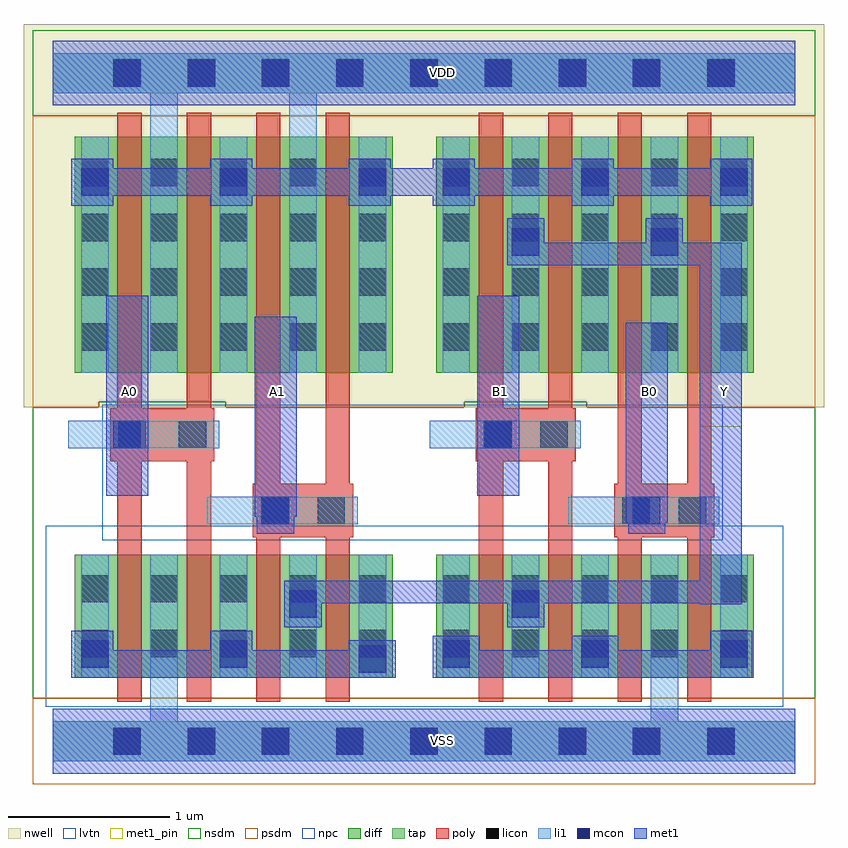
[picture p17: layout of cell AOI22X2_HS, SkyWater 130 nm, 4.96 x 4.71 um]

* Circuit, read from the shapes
.subckt AOI22X2_HS A0 A1 B0 B1 VDD VSS Y
XM1 VSS A0 n1 VSS sky130_fd_pr__nfet_01v8_lvt w=0.76 l=0.15 m=2
XM2 Y A1 n1 VSS sky130_fd_pr__nfet_01v8_lvt w=0.76 l=0.15 m=2
XM3 Y B1 n2 VSS sky130_fd_pr__nfet_01v8_lvt w=0.76 l=0.15 m=2
XM4 VSS B0 n2 VSS sky130_fd_pr__nfet_01v8_lvt w=0.76 l=0.15 m=2
XM5 VDD A0 n3 VDD sky130_fd_pr__pfet_01v8 w=1.46 l=0.15 m=2
XM6 VDD A1 n3 VDD sky130_fd_pr__pfet_01v8 w=1.46 l=0.15 m=2
XM7 Y B1 n3 VDD sky130_fd_pr__pfet_01v8 w=1.46 l=0.15 m=2
XM8 Y B0 n3 VDD sky130_fd_pr__pfet_01v8 w=1.46 l=0.15 m=2
.ends

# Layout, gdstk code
from math import pi, radians
import gdstk
lib = gdstk.Library(unit=1e-6, precision=1e-09)
def R(c, l, rs):  # rectangles x0, y0, x1, y1
    for r in rs: c.add(gdstk.rectangle(r[:2], r[2:], *l))
def A(c, l, x, y, w, h, nx, ny, dx, dy):  # array of equal rectangles
    R(c, l, [(x+i*dx, y+j*dy, x+i*dx+w, y+j*dy+h) for i in range(nx) for j in range(ny)])
def P(c, l, *ps):  # polygons
    for p in ps: c.add(gdstk.Polygon(p, *l))
nwell = (64, 20)
diff = (65, 20)
tap = (65, 44)
poly = (66, 20)
licon = (66, 44)
li1 = (67, 20)
mcon = (67, 44)
met1_pin = (68, 16)
met1 = (68, 20)
nsdm = (93, 44)
psdm = (94, 20)
npc = (95, 20)
lvtn = (125, 44)

l1m1_c_cdns_750721774072 = lib.new_cell('L1M1_C_CDNS_7507217740722')
R(l1m1_c_cdns_750721774072, li1, [(-0.085,-0.165,0.085,0.085)])
R(l1m1_c_cdns_750721774072, mcon, [(-0.085,-0.085,0.085,0.085)])
R(l1m1_c_cdns_750721774072, met1, [(-0.145,-0.145,0.115,0.145)])

c_l1m1_c_cdns_750721774072 = lib.new_cell('L1M1_C_CDNS_7507217740723')
R(c_l1m1_c_cdns_750721774072, li1, [(-0.085,-0.085,0.085,0.165)])
R(c_l1m1_c_cdns_750721774072, mcon, [(-0.085,-0.085,0.085,0.085)])
R(c_l1m1_c_cdns_750721774072, met1, [(-0.145,-0.145,0.115,0.145)])

pyl1con_c_cdns_750721774 = lib.new_cell('PYL1CON_C_CDNS_750721774073')
R(pyl1con_c_cdns_750721774, poly, [(-0.135,-0.165,0.135,0.165)])
R(pyl1con_c_cdns_750721774, licon, [(-0.085,-0.085,0.085,0.085)])
R(pyl1con_c_cdns_750721774, npc, [(-0.185,-0.185,0.185,0.185)])

c_l1m1_c_cdns_750721774072_ = lib.new_cell('L1M1_C_CDNS_750721774072')
R(c_l1m1_c_cdns_750721774072_, li1, [(-0.085,-0.165,0.085,0.165)])
R(c_l1m1_c_cdns_750721774072_, mcon, [(-0.085,-0.085,0.085,0.085)])
R(c_l1m1_c_cdns_750721774072_, met1, [(-0.115,-0.145,0.115,0.145)])

l1m1_c_cdns_750721774074 = lib.new_cell('L1M1_C_CDNS_750721774074')
R(l1m1_c_cdns_750721774074, li1, [(-0.165,-0.085,0.165,0.085)])
R(l1m1_c_cdns_750721774074, mcon, [(-0.085,-0.085,0.085,0.085)])
R(l1m1_c_cdns_750721774074, met1, [(-0.115,-0.145,0.115,0.145)])

l1m1_c_cdns_750721774071 = lib.new_cell('L1M1_C_CDNS_7507217740719')
R(l1m1_c_cdns_750721774071, li1, [(-0.085,-0.165,0.085,0.085)])
R(l1m1_c_cdns_750721774071, mcon, [(-0.085,-0.085,0.085,0.085)])
R(l1m1_c_cdns_750721774071, met1, [(-0.145,-0.115,0.145,0.115)])

aoi22x2_hs = lib.new_cell('AOI22X2_HS')
R(aoi22x2_hs, nwell, [(-0.18,2.07,4.78,4.305), (-0.045,2.105,1.385,3.925), (1.025,2.105,2.285,3.925), (2.195,2.105,3.455,3.925), (3.095,2.105,4.525,3.925), (-0.18,3.875,4.78,4.445)])
A(aoi22x2_hs, diff, 0.4, 0.395, 0.15, 0.76, 4, 1, 0.43, 0)
A(aoi22x2_hs, diff, 2.64, 0.395, 0.15, 0.76, 4, 1, 0.43, 0)
A(aoi22x2_hs, diff, 0.4, 2.285, 0.15, 1.46, 4, 1, 0.43, 0)
A(aoi22x2_hs, diff, 2.64, 2.285, 0.15, 1.46, 4, 1, 0.43, 0)
R(aoi22x2_hs, diff, [(0.135,0.395,0.4,1.155), (0.55,0.395,0.83,1.155), (0.98,0.395,1.205,1.155), (1.205,0.395,1.26,1.155), (1.41,0.395,1.69,1.155), (1.84,0.395,2.105,1.155), (2.375,0.395,2.64,1.155), (2.79,0.395,3.07,1.155), (3.22,0.395,3.445,1.155), (3.445,0.395,3.5,1.155), (3.65,0.395,3.93,1.155), (4.08,0.395,4.345,1.155), (0.135,2.285,0.4,3.745), (0.55,2.285,0.83,3.745), (0.98,2.285,1.205,3.745), (1.205,2.285,1.26,3.745), (1.41,2.285,1.69,3.745), (1.84,2.285,2.105,3.745), (2.375,2.285,2.64,3.745), (2.79,2.285,3.07,3.745), (3.22,2.285,3.275,3.745), (3.275,2.285,3.5,3.745), (3.65,2.285,3.93,3.745), (4.08,2.285,4.345,3.745)])
A(aoi22x2_hs, poly, 0.4, 0.245, 0.15, 0.055, 4, 2, 0.43, 1.005)
A(aoi22x2_hs, poly, 2.64, 0.245, 0.15, 0.055, 4, 2, 0.43, 1.005)
A(aoi22x2_hs, poly, 0.4, 0.3, 0.15, 0.095, 4, 2, 0.43, 0.855)
A(aoi22x2_hs, poly, 2.64, 0.3, 0.15, 0.095, 4, 2, 0.43, 0.855)
A(aoi22x2_hs, poly, 0.4, 0.395, 0.15, 0.76, 4, 1, 0.43, 0)
A(aoi22x2_hs, poly, 2.64, 0.395, 0.15, 0.76, 4, 1, 0.43, 0)
A(aoi22x2_hs, poly, 0.4, 2.135, 0.15, 0.055, 4, 2, 0.43, 1.705)
A(aoi22x2_hs, poly, 2.64, 2.135, 0.15, 0.055, 4, 2, 0.43, 1.705)
A(aoi22x2_hs, poly, 0.4, 2.19, 0.15, 0.095, 4, 2, 0.43, 1.555)
A(aoi22x2_hs, poly, 2.64, 2.19, 0.15, 0.095, 4, 2, 0.43, 1.555)
A(aoi22x2_hs, poly, 0.4, 2.285, 0.15, 1.46, 4, 1, 0.43, 0)
A(aoi22x2_hs, poly, 2.64, 2.285, 0.15, 1.46, 4, 1, 0.43, 0)
A(aoi22x2_hs, licon, 0.375, -0.085, 0.17, 0.17, 9, 2, 0.46, 4.14)
A(aoi22x2_hs, licon, 0.175, 0.52, 0.17, 0.17, 5, 2, 0.43, 0.34)
A(aoi22x2_hs, licon, 2.415, 0.52, 0.17, 0.17, 5, 2, 0.43, 0.34)
A(aoi22x2_hs, licon, 0.175, 2.42, 0.17, 0.17, 5, 4, 0.43, 0.34)
A(aoi22x2_hs, licon, 2.415, 2.42, 0.17, 0.17, 5, 4, 0.43, 0.34)
A(aoi22x2_hs, li1, 0.175, 0.395, 0.17, 0.76, 5, 1, 0.43, 0)
A(aoi22x2_hs, li1, 2.415, 0.395, 0.17, 0.76, 5, 1, 0.43, 0)
A(aoi22x2_hs, li1, 0.175, 2.285, 0.17, 1.46, 5, 1, 0.43, 0)
A(aoi22x2_hs, li1, 2.415, 2.285, 0.17, 1.46, 5, 1, 0.43, 0)
A(aoi22x2_hs, mcon, 0.375, -0.085, 0.17, 0.17, 9, 2, 0.46, 4.14)
R(aoi22x2_hs, met1_pin, [(3.55,1.355,3.81,2.595), (1.25,1.39,1.51,2.63), (0.33,1.52,0.59,2.76), (2.63,1.52,2.89,2.76), (4.01,1.95,4.27,3.09)])
R(aoi22x2_hs, nsdm, [(-0.005,0.265,1.215,1.285), (1.195,0.265,2.245,1.285), (2.235,0.265,3.455,1.285), (3.435,0.265,4.485,1.285), (-0.125,3.875,4.725,4.405), (-0.125,3.93,4.725,4.35)])
P(aoi22x2_hs, nsdm, [(4.725,2.07),(3.31,2.07),(3.31,2.105),(2.55,2.105),(2.55,2.07),(1.07,2.07),(1.07,2.105),(0.285,2.105),(0.285,2.07),(-0.125,2.07),(-0.125,0.265),(4.725,0.265)])
R(aoi22x2_hs, psdm, [(-0.125,-0.265,4.725,0.265), (-0.125,-0.21,4.725,0.21), (-0.005,2.155,1.215,3.875), (1.195,2.155,2.245,3.875), (2.235,2.155,3.285,3.875), (3.265,2.155,4.485,3.875)])
P(aoi22x2_hs, psdm, [(4.725,3.875),(-0.125,3.875),(-0.125,2.07),(0.285,2.07),(0.285,2.105),(1.07,2.105),(1.07,2.07),(2.55,2.07),(2.55,2.105),(3.31,2.105),(3.31,2.07),(4.725,2.07)])
R(aoi22x2_hs, npc, [(0.305,1.245,4.15,2.085)])
R(aoi22x2_hs, lvtn, [(-0.045,0.215,1.385,1.335), (1.025,0.215,2.285,1.335), (2.195,0.215,3.625,1.335), (3.265,0.215,4.525,1.335)])
aoi22x2_hs.add(gdstk.FlexPath([(3.79,0.59),(3.79,0)], 0.17, ends="flush", simple_path=True, layer=67, datatype=20))  # li1
aoi22x2_hs.add(gdstk.FlexPath([(0.69,0.59),(0.69,0)], 0.17, ends=(0, 0.125), simple_path=True, layer=67, datatype=20))  # li1
aoi22x2_hs.add(gdstk.FlexPath([(1.55,3.55),(1.55,4.14)], 0.17, ends="flush", simple_path=True, layer=67, datatype=20))  # li1
aoi22x2_hs.add(gdstk.FlexPath([(0,0),(0.69,0)], 0.25, ends=(0, 0.085), simple_path=True, layer=67, datatype=20))  # li1
aoi22x2_hs.add(gdstk.FlexPath([(2.47,0),(3.42,0)], 0.25, ends=(0.085, 0.085), simple_path=True, layer=67, datatype=20))  # li1
aoi22x2_hs.add(gdstk.FlexPath([(3.42,0),(4.34,0)], 0.25, ends=(0.085, 0.085), simple_path=True, layer=67, datatype=20))  # li1
aoi22x2_hs.add(gdstk.FlexPath([(4.34,0),(4.6,0)], 0.25, ends=(0.085, 0), simple_path=True, layer=67, datatype=20))  # li1
aoi22x2_hs.add(gdstk.FlexPath([(0.69,0),(2.47,0)], 0.25, ends=(0.085, 0.085), simple_path=True, layer=67, datatype=20))  # li1
aoi22x2_hs.add(gdstk.FlexPath([(0.955,1.43),(1.89,1.43)], 0.17, ends="flush", simple_path=True, layer=67, datatype=20))  # li1
aoi22x2_hs.add(gdstk.FlexPath([(2.335,1.9),(3.27,1.9)], 0.17, ends="flush", simple_path=True, layer=67, datatype=20))  # li1
aoi22x2_hs.add(gdstk.FlexPath([(0,4.14),(0.69,4.14)], 0.25, ends=(0, 0.085), simple_path=True, layer=67, datatype=20))  # li1
aoi22x2_hs.add(gdstk.FlexPath([(2.47,4.14),(3.42,4.14)], 0.25, ends=(0.085, 0.085), simple_path=True, layer=67, datatype=20))  # li1
aoi22x2_hs.add(gdstk.FlexPath([(3.42,4.14),(4.34,4.14)], 0.25, ends=(0.085, 0.085), simple_path=True, layer=67, datatype=20))  # li1
aoi22x2_hs.add(gdstk.FlexPath([(3.195,1.43),(4.13,1.43)], 0.17, ends="flush", simple_path=True, layer=67, datatype=20))  # li1
aoi22x2_hs.add(gdstk.FlexPath([(4.34,4.14),(4.6,4.14)], 0.25, ends=(0.085, 0), simple_path=True, layer=67, datatype=20))  # li1
aoi22x2_hs.add(gdstk.FlexPath([(0.69,3.55),(0.69,4.14)], 0.17, ends=(0, 0.125), simple_path=True, layer=67, datatype=20))  # li1
aoi22x2_hs.add(gdstk.FlexPath([(0.69,4.14),(2.47,4.14)], 0.25, ends=(0.085, 0.085), simple_path=True, layer=67, datatype=20))  # li1
aoi22x2_hs.add(gdstk.FlexPath([(0.095,1.9),(1.03,1.9)], 0.17, ends="flush", simple_path=True, layer=67, datatype=20))  # li1
aoi22x2_hs.add(gdstk.FlexPath([(0.49,1.9),(0.865,1.9)], 0.33, ends="flush", simple_path=True, layer=66, datatype=20))  # poly
aoi22x2_hs.add(gdstk.FlexPath([(1.35,1.43),(1.725,1.43)], 0.33, ends="flush", simple_path=True, layer=66, datatype=20))  # poly
aoi22x2_hs.add(gdstk.FlexPath([(0.475,2.27),(0.475,1.305)], 0.15, ends="flush", simple_path=True, layer=66, datatype=20))  # poly
aoi22x2_hs.add(gdstk.FlexPath([(1.335,2.27),(1.335,1.305)], 0.15, ends="flush", simple_path=True, layer=66, datatype=20))  # poly
aoi22x2_hs.add(gdstk.FlexPath([(2.715,2.27),(2.715,1.305)], 0.15, ends="flush", simple_path=True, layer=66, datatype=20))  # poly
aoi22x2_hs.add(gdstk.FlexPath([(3.575,2.27),(3.575,1.305)], 0.15, ends="flush", simple_path=True, layer=66, datatype=20))  # poly
aoi22x2_hs.add(gdstk.FlexPath([(2.755,1.9),(3.13,1.9)], 0.33, ends="flush", simple_path=True, layer=66, datatype=20))  # poly
aoi22x2_hs.add(gdstk.FlexPath([(3.595,1.43),(3.97,1.43)], 0.33, ends="flush", simple_path=True, layer=66, datatype=20))  # poly
aoi22x2_hs.add(gdstk.FlexPath([(3.145,2.27),(3.145,1.305)], 0.15, ends="flush", simple_path=True, layer=66, datatype=20))  # poly
aoi22x2_hs.add(gdstk.FlexPath([(1.765,2.27),(1.765,1.305)], 0.15, ends="flush", simple_path=True, layer=66, datatype=20))  # poly
aoi22x2_hs.add(gdstk.FlexPath([(4.005,2.27),(4.005,1.305)], 0.15, ends="flush", simple_path=True, layer=66, datatype=20))  # poly
aoi22x2_hs.add(gdstk.FlexPath([(0.905,2.27),(0.905,1.305)], 0.15, ends="flush", simple_path=True, layer=66, datatype=20))  # poly
aoi22x2_hs.add(gdstk.FlexPath([(0,0),(4.6,0)], 0.25, ends="flush", simple_path=True, layer=65, datatype=44))  # tap
aoi22x2_hs.add(gdstk.FlexPath([(0,4.14),(4.6,4.14)], 0.25, ends="flush", simple_path=True, layer=65, datatype=44))  # tap
aoi22x2_hs.add(gdstk.FlexPath([(0,4.14),(4.6,4.14)], 0.4, ends="flush", simple_path=True, layer=68, datatype=20))  # met1
aoi22x2_hs.add(gdstk.FlexPath([(4.14,1.195),(4.14,1.05)], 0.26, ends=(0.145, 0), simple_path=True, layer=68, datatype=20))  # met1
aoi22x2_hs.add(gdstk.FlexPath([(2.355,0.48),(4.335,0.48)], 0.17, ends="flush", simple_path=True, layer=68, datatype=20))  # met1
aoi22x2_hs.add(gdstk.FlexPath([(0.115,0.48),(2.095,0.48)], 0.17, ends="flush", simple_path=True, layer=68, datatype=20))  # met1
aoi22x2_hs.add(gdstk.FlexPath([(0.46,2.76),(0.46,1.52)], 0.26, ends="flush", simple_path=True, layer=68, datatype=20))  # met1
aoi22x2_hs.add(gdstk.FlexPath([(4.27,0.925),(1.435,0.925)], 0.14, ends="flush", simple_path=True, layer=68, datatype=20))  # met1
aoi22x2_hs.add(gdstk.FlexPath([(4.14,1.05),(4.14,0.85)], 0.26, ends="flush", simple_path=True, layer=68, datatype=20))  # met1
aoi22x2_hs.add(gdstk.FlexPath([(4.27,3.02),(3.36,3.02)], 0.14, ends=(0, 0.115), simple_path=True, layer=68, datatype=20))  # met1
aoi22x2_hs.add(gdstk.FlexPath([(2.815,3.02),(3.36,3.02)], 0.14, ends=(0, 0.115), simple_path=True, layer=68, datatype=20))  # met1
aoi22x2_hs.add(gdstk.FlexPath([(4.14,3.09),(4.14,1.195)], 0.26, ends=(0, 0.145), simple_path=True, layer=68, datatype=20))  # met1
aoi22x2_hs.add(gdstk.FlexPath([(3.68,2.595),(3.68,1.355)], 0.26, ends="flush", simple_path=True, layer=68, datatype=20))  # met1
aoi22x2_hs.add(gdstk.FlexPath([(0.115,3.465),(4.11,3.465)], 0.17, ends="flush", simple_path=True, layer=68, datatype=20))  # met1
aoi22x2_hs.add(gdstk.FlexPath([(0,0),(4.6,0)], 0.4, ends="flush", simple_path=True, layer=68, datatype=20))  # met1
aoi22x2_hs.add(gdstk.FlexPath([(1.38,2.63),(1.38,1.39)], 0.26, ends="flush", simple_path=True, layer=68, datatype=20))  # met1
aoi22x2_hs.add(gdstk.FlexPath([(2.76,2.76),(2.76,1.52)], 0.26, ends="flush", simple_path=True, layer=68, datatype=20))  # met1
aoi22x2_hs.add(gdstk.FlexPath([(0,4.14),(4.6,4.14)], 0.4, ends="flush", simple_path=True, layer=68, datatype=16))  # met1_pin
aoi22x2_hs.add(gdstk.FlexPath([(0,0),(4.6,0)], 0.4, ends="flush", simple_path=True, layer=68, datatype=16))  # met1_pin
aoi22x2_hs.add(gdstk.Reference(l1m1_c_cdns_750721774072, (4.22,0.54), x_reflection=True))
aoi22x2_hs.add(gdstk.Reference(l1m1_c_cdns_750721774072, (1.12,0.54), x_reflection=True))
aoi22x2_hs.add(gdstk.Reference(l1m1_c_cdns_750721774072, (0.26,0.54), x_reflection=True))
aoi22x2_hs.add(gdstk.Reference(c_l1m1_c_cdns_750721774072, (2.5,3.465), x_reflection=True))
aoi22x2_hs.add(gdstk.Reference(c_l1m1_c_cdns_750721774072, (3.36,3.465), x_reflection=True))
aoi22x2_hs.add(gdstk.Reference(c_l1m1_c_cdns_750721774072, (1.98,3.465), x_reflection=True))
aoi22x2_hs.add(gdstk.Reference(c_l1m1_c_cdns_750721774072, (4.22,3.465), x_reflection=True))
aoi22x2_hs.add(gdstk.Reference(c_l1m1_c_cdns_750721774072, (0.26,3.465), x_reflection=True))
aoi22x2_hs.add(gdstk.Reference(c_l1m1_c_cdns_750721774072, (1.12,3.465), x_reflection=True))
aoi22x2_hs.add(gdstk.Reference(pyl1con_c_cdns_750721774, (3.965,1.43), rotation=pi, x_reflection=True))
aoi22x2_hs.add(gdstk.Reference(pyl1con_c_cdns_750721774, (3.615,1.43), rotation=pi, x_reflection=True))
aoi22x2_hs.add(gdstk.Reference(pyl1con_c_cdns_750721774, (2.755,1.9), rotation=pi, x_reflection=True))
aoi22x2_hs.add(gdstk.Reference(pyl1con_c_cdns_750721774, (3.105,1.9), rotation=pi, x_reflection=True))
aoi22x2_hs.add(gdstk.Reference(pyl1con_c_cdns_750721774, (1.375,1.43), rotation=pi, x_reflection=True))
aoi22x2_hs.add(gdstk.Reference(pyl1con_c_cdns_750721774, (1.725,1.43), rotation=pi, x_reflection=True))
aoi22x2_hs.add(gdstk.Reference(pyl1con_c_cdns_750721774, (0.865,1.9), rotation=pi, x_reflection=True))
aoi22x2_hs.add(gdstk.Reference(pyl1con_c_cdns_750721774, (0.49,1.9), rotation=pi, x_reflection=True))
aoi22x2_hs.add(gdstk.Reference(c_l1m1_c_cdns_750721774072_, (3.79,3.095), x_reflection=True))
aoi22x2_hs.add(gdstk.Reference(c_l1m1_c_cdns_750721774072_, (2.93,0.85), x_reflection=True))
aoi22x2_hs.add(gdstk.Reference(c_l1m1_c_cdns_750721774072_, (1.55,0.85), x_reflection=True))
aoi22x2_hs.add(gdstk.Reference(c_l1m1_c_cdns_750721774072_, (2.93,3.095), x_reflection=True))
aoi22x2_hs.add(gdstk.Reference(l1m1_c_cdns_750721774074, (0.46,1.9)))
aoi22x2_hs.add(gdstk.Reference(l1m1_c_cdns_750721774074, (3.68,1.43)))
aoi22x2_hs.add(gdstk.Reference(l1m1_c_cdns_750721774074, (2.76,1.9)))
aoi22x2_hs.add(gdstk.Reference(l1m1_c_cdns_750721774074, (1.38,1.43)))
aoi22x2_hs.add(gdstk.Reference(l1m1_c_cdns_750721774071, (3.36,0.54), x_reflection=True))
aoi22x2_hs.add(gdstk.Reference(l1m1_c_cdns_750721774071, (2.5,0.54), x_reflection=True))
aoi22x2_hs.add(gdstk.Reference(l1m1_c_cdns_750721774071, (1.98,0.51), x_reflection=True))
aoi22x2_hs.add(gdstk.Label('VDD', (2.415,4.145), layer=68, texttype=5))
aoi22x2_hs.add(gdstk.Label('B1', (2.775,2.165), layer=68, texttype=5))
aoi22x2_hs.add(gdstk.Label('A1', (1.395,2.165), layer=68, texttype=5))
aoi22x2_hs.add(gdstk.Label('Y', (4.165,2.165), layer=68, texttype=5))
aoi22x2_hs.add(gdstk.Label('A0', (0.475,2.165), layer=68, texttype=5))
aoi22x2_hs.add(gdstk.Label('B0', (3.695,2.165), layer=68, texttype=5))
aoi22x2_hs.add(gdstk.Label('VSS', (2.415,0.005), layer=68, texttype=5))

lib.write_gds('AOI22X2_HS.gds')
